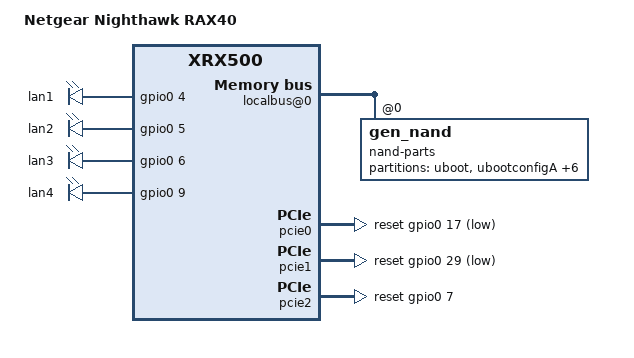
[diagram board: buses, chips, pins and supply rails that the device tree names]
#include "easy350_V1_anywan.dts"
#include <dt-bindings/input/input.h>

/ {
	model = "Netgear Nighthawk RAX40";
	compatible = "intel,easy550_anywan", "intel,easy350_anywan", "lantiq,grx500", "lantiq,xrx500";
/*
	gpio-keys-polled {
		compatible = "gpio-keys-polled";
		#address-cells = <1>;
		#size-cells = <0>;
		poll-interval = <100>;

		reset {
			label = "reset";
			gpios = <&gpio0 0 1>;
			linux,code = <KEY_RESTART>;
		};
		wifi {
			label = "wifi";
			gpios = <&gpio1 4 1>;
			linux,code = <KEY_WPS_BUTTON>;
		};
		wps {
			label = "wps";
			gpios = <&gpio0 30 1>;
			linux,code = <KEY_WPS_BUTTON>;
		};
	};
*/
	gpio-leds {
		compatible = "gpio-leds";

		lan1 {
			label = "lan1";
			gpios = <&gpio0 4 GPIO_ACTIVE_HIGH>;
		};
		lan2 {
			label = "lan2";
			gpios = <&gpio0 5 GPIO_ACTIVE_HIGH>;
		};
		lan3 {
			label = "lan3";
			gpios = <&gpio0 6 GPIO_ACTIVE_HIGH>;
		};
		lan4 {
			label = "lan4";
			gpios = <&gpio0 9 GPIO_ACTIVE_HIGH>;
		};
	};

	ssx4@16000000 {
		localbus@0 {
			ranges = <0 0 0x1c00000 0xfffff>;
			nand-parts@0 {
				compatible = "gen_nand","lantiq,nand-xway";
				lantiq,cs = <1>;
				bank-width = <2>;
				reg = <0 0x0 0x100000>;
				#address-cells = <1>;
				#size-cells = <1>;
				nand-ecc-mode = "soft";
				nand-ecc-algo = "bch";
				nand-ecc-strength = <4>;
				nand-ecc-step-size = <512>;
				partition@0 {
					label = "uboot";
					reg = <0x000000 0x100000>;
				};
				
				partition@100000 {
					label = "ubootconfigA";
					reg = <0x100000 0x40000>;
				};
				
				partition@140000 {
					label = "ubootconfigB";
					reg = <0x140000 0x40000>;
				};
				
				partition@180000 {
					label = "gphyfirmware";
					reg = <0x180000 0x40000>;
				};

				partition@1c0000 {
					label = "calibration";
					reg = <0x1c0000 0x100000>;
				};

				partition@2c0000 {
					label = "system_sw";
					reg = <0x2c0000 0xf600000>;
				};

				partition@f8c0000 {
					label = "vendor";
					reg = <0xf8c0000 0x6c0000>;
				};

				partition@ff80000 {
					label = "res";
					reg = <0xff80000 0x80000>;
				};
			};
		};
	};
	ssx0@1E000000 {
		/delete-node/ mps@1107000;
	};
};

&cooling_maps {
	map0 {
		trip = <&cpu_alert0>;
		cooling-device = <&cpu0 3 3>;
	};
};

&cpu1 {
	default-OS = "LINUX";
};

&pcie0 {
	reset-gpios = <&gpio0 17 GPIO_ACTIVE_LOW>;
};

&pcie1 {
	reset-gpios = <&gpio0 29 GPIO_ACTIVE_LOW>;
};

&pcie2 {
	reset-gpios = <&gpio0 7 GPIO_ACTIVE_HIGH>;
};

&ssc1 {
	status="disabled";
	/delete-property/ pinctrl-0;
};

&ssogpio {
	status = "disabled";
};

&ssoled {
	status = "disabled";
};

&i2c {
	status = "disabled";
	/delete-property/ pinctrl-0;
};

&pinctrl {
	/delete-node/ vcodec;
	/delete-node/ tdm;
	/delete-node/ spi1;
	/delete-node/ i2c0;
	/delete-node/ spi1_cs0;
};

&eth {
	/delete-node/ interface@0;
};

&dect0 {
	status = "disabled";
	/delete-property/ gpio-reset;
	/delete-property/ gpio-int;
};

&dect_page0 {
	status = "disabled";
	/delete-property/ lantiq,pagepin;
};

&ssc0 {
	/delete-node/ vcodec@5;
};
